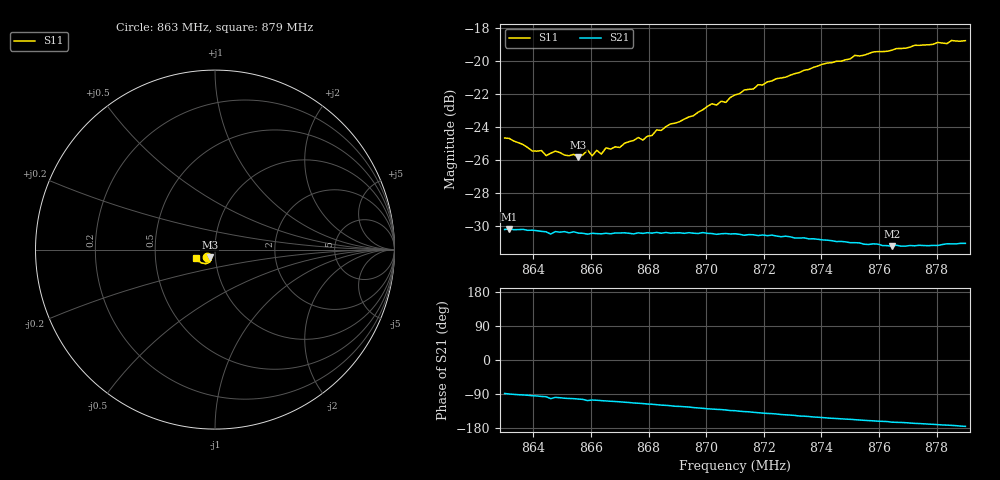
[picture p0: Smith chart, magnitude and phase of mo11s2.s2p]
# HZ S RI R 50
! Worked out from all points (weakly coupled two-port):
!   101 points, 863 MHz to 879 MHz, reference 50 ohm
!   highest |S21| = -30.19 dB at 863.16 MHz (marker M1); lowest = -31.2 dB at 876.44 MHz (marker M2)
!   lowest |S11| = -25.8 dB at 865.56 MHz (marker M3), VSWR 1.11, Z = 47 - j3.97 ohm
!   |S11| at or under -10 dB: start of sweep to end of sweep
!   S12 and S22 are empty: the file has one direction only
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8.63e8  -0.0431 -0.0395  0.000895 -0.0308  0 0  0 0
8.6316e8  -0.0434 -0.0389  0.000146 -0.0309  0 0  0 0
8.6396e8  -0.0367 -0.0387  -0.0023 -0.0306  0 0  0 0
8.6428e8  -0.035 -0.0405  -0.0033 -0.0302  0 0  0 0
8.6444e8  -0.0343 -0.0386  -0.00359 -0.0301  0 0  0 0
8.6476e8  -0.0335 -0.0415  -0.00454 -0.03  0 0  0 0
8.6556e8  -0.029 -0.0421  -0.00681 -0.0293  0 0  0 0
8.6572e8  -0.0279 -0.0438  -0.00724 -0.0291  0 0  0 0
8.6588e8  -0.0301 -0.0445  -0.00875 -0.0285  0 0  0 0
8.6604e8  -0.0258 -0.0447  -0.00807 -0.0289  0 0  0 0
8.662e8  -0.0276 -0.0459  -0.00837 -0.0287  0 0  0 0
8.6636e8  -0.0263 -0.0451  -0.00885 -0.0285  0 0  0 0
8.6652e8  -0.0258 -0.048  -0.00928 -0.0285  0 0  0 0
8.67e8  -0.0251 -0.0486  -0.0105 -0.0282  0 0  0 0
8.6844e8  -0.0246 -0.0565  -0.0146 -0.0262  0 0  0 0
8.702e8  -0.0294 -0.0682  -0.019 -0.0231  0 0  0 0
8.7068e8  -0.0302 -0.0686  -0.02 -0.0223  0 0  0 0
8.71e8  -0.0343 -0.0712  -0.0207 -0.0216  0 0  0 0
8.7372e8  -0.0558 -0.0778  -0.0251 -0.0143  0 0  0 0
8.7516e8  -0.0721 -0.0752  -0.0259 -0.0108  0 0  0 0
8.7644e8  -0.0833 -0.0687  -0.0263 -0.00756  0 0  0 0
8.79e8  -0.1055 -0.047  -0.0278 -0.00237  0 0  0 0
